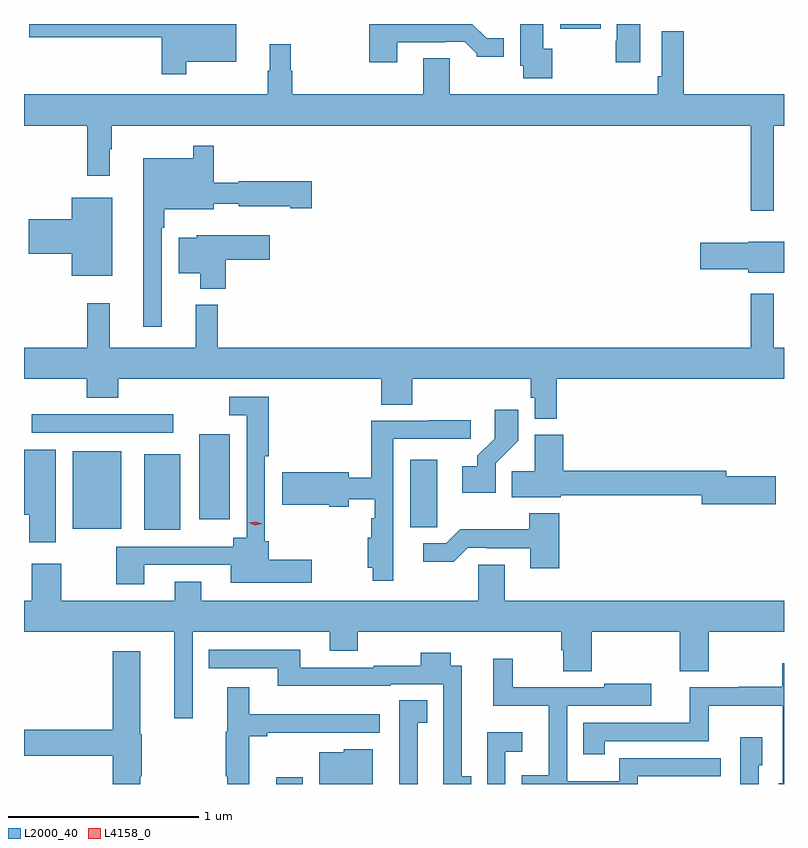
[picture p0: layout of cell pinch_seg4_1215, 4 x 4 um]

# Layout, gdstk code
import gdstk
lib = gdstk.Library(unit=1e-6, precision=1e-09)
def R(c, l, rs):  # rectangles x0, y0, x1, y1
    for r in rs: c.add(gdstk.rectangle(r[:2], r[2:], *l))
def P(c, l, *ps):  # polygons
    for p in ps: c.add(gdstk.Polygon(p, *l))
L2000_40 = (2000, 40)
L4158_0 = (4158, 0)

pinch_seg4_1215 = lib.new_cell('pinch_seg4_1215')
R(pinch_seg4_1215, L2000_40, [(322.721,817.331,322.861,817.366), (322.028,818.669,322.216,819.067), (321.65,818.675,321.907,819.082), (322.316,818.724,322.477,819.172), (321.435,819.18,322.18,819.276), (324.216,821.307,324.43,821.331)])
P(pinch_seg4_1215, L2000_40, [(324.637,821.331),(324.515,821.331),(324.515,821.242),(324.508,821.242),(324.508,821.13),(324.637,821.13)],
  [(324.174,821.202),(324.127,821.202),(324.127,821.331),(324.005,821.331),(324.005,821.112),(324.022,821.112),(324.022,821.046),(324.174,821.046)],
  [(323.359,821.235),(323.615,821.235),(323.615,821.238),(323.714,821.238),(323.778,821.174),(323.778,821.159),(323.92,821.159),(323.92,821.256),(323.829,821.256),(323.754,821.331),(323.212,821.331),(323.212,821.13),(323.359,821.13)],
  [(322.249,821.132),(322.51,821.132),(322.51,821.331),(321.421,821.331),(321.421,821.262),(322.12,821.262),(322.12,821.067),(322.249,821.067)],
  [(325.339,820.796),(325.394,820.796),(325.394,820.96),(324.866,820.96),(324.866,821.293),(324.75,821.293),(324.75,821.056),(324.73,821.056),(324.73,820.96),(323.635,820.96),(323.635,821.15),(323.495,821.15),(323.495,820.96),(322.805,820.96),(322.805,821.084),(322.798,821.084),(322.798,821.224),(322.688,821.224),(322.688,821.084),(322.677,821.084),(322.677,820.96),(321.394,820.96),(321.394,820.796),(321.727,820.796),(321.727,820.533),(321.844,820.533),(321.844,820.673),(321.856,820.673),(321.856,820.796),(325.218,820.796),(325.218,820.347),(325.339,820.347)],
  [(322.119,820.259),(322.132,820.259),(322.132,820.355),(322.393,820.355),(322.393,820.385),(322.524,820.385),(322.524,820.373),(322.796,820.373),(322.796,820.361),(322.909,820.361),(322.909,820.503),(322.524,820.503),(322.524,820.495),(322.393,820.495),(322.393,820.69),(322.284,820.69),(322.284,820.624),(322.022,820.624),(322.022,819.738),(322.119,819.738)],
  [(321.859,820.417),(321.644,820.417),(321.644,820.304),(321.42,820.304),(321.42,820.121),(321.644,820.121),(321.644,820.007),(321.859,820.007)],
  [(322.457,820.09),(322.687,820.09),(322.687,820.219),(322.302,820.219),(322.302,820.207),(322.208,820.207),(322.208,820.019),(322.322,820.019),(322.322,819.938),(322.457,819.938)],
  [(325.394,820.186),(325.206,820.186),(325.206,820.181),(324.954,820.181),(324.954,820.039),(325.206,820.039),(325.206,820.022),(325.394,820.022)],
  [(324.197,819.464),(325.394,819.464),(325.394,819.628),(325.339,819.628),(325.339,819.91),(325.218,819.91),(325.218,819.628),(322.415,819.628),(322.415,819.853),(322.298,819.853),(322.298,819.628),(321.845,819.628),(321.845,819.862),(321.727,819.862),(321.727,819.628),(321.394,819.628),(321.394,819.464),(321.725,819.464),(321.725,819.365),(321.89,819.365),(321.89,819.464),(323.273,819.464),(323.273,819.328),(323.438,819.328),(323.438,819.464),(324.061,819.464),(324.061,819.363),(324.081,819.363),(324.081,819.254),(324.197,819.254)],
  [(322.027,818.484),(322.481,818.484),(322.481,818.39),(322.909,818.39),(322.909,818.512),(322.682,818.512),(322.682,818.608),(322.662,818.608),(322.662,819.055),(322.682,819.055),(322.682,819.369),(322.473,819.369),(322.473,819.273),(322.566,819.273),(322.566,818.626),(322.496,818.626),(322.496,818.58),(321.88,818.58),(321.88,818.382),(322.027,818.382)],
  [(323.877,819.019),(323.996,819.138),(323.996,819.301),(323.871,819.301),(323.871,819.149),(323.78,819.059),(323.78,819.004),(323.7,819.004),(323.7,818.864),(323.877,818.864)],
  [(323.338,818.622),(323.337,818.622),(323.337,819.147),(323.746,819.147),(323.746,819.246),(323.521,819.246),(323.521,819.243),(323.221,819.243),(323.221,818.944),(323.104,818.944),(323.104,818.972),(322.752,818.972),(322.752,818.801),(323,818.801),(323,818.789),(323.104,818.789),(323.104,818.831),(323.24,818.831),(323.24,818.729),(323.221,818.729),(323.221,818.626),(323.204,818.626),(323.204,818.468),(323.229,818.468),(323.229,818.4),(323.338,818.4)],
  [(325.351,818.951),(325.09,818.951),(325.09,818.98),(324.233,818.98),(324.233,819.169),(324.083,819.169),(324.083,818.978),(323.962,818.978),(323.962,818.84),(324.22,818.84),(324.22,818.851),(324.962,818.851),(324.962,818.804),(325.351,818.804)],
  [(321.562,819.091),(321.394,819.091),(321.394,818.747),(321.421,818.747),(321.421,818.604),(321.562,818.604)],
  [(323.568,818.794),(323.569,818.794),(323.569,819.037),(323.426,819.037),(323.426,818.683),(323.568,818.683)],
  [(324.212,818.755),(324.052,818.755),(324.052,818.671),(323.689,818.671),(323.616,818.598),(323.496,818.598),(323.496,818.501),(323.657,818.501),(323.73,818.574),(323.83,818.574),(323.83,818.571),(324.059,818.571),(324.059,818.466),(324.212,818.466)],
  [(322.281,818.132),(323.003,818.132),(323.003,818.033),(323.151,818.033),(323.151,818.132),(324.221,818.132),(324.221,818.034),(324.233,818.034),(324.233,817.924),(324.381,817.924),(324.381,818.132),(324.844,818.132),(324.844,817.924),(324.999,817.924),(324.999,818.132),(325.394,818.132),(325.394,818.296),(323.923,818.296),(323.923,818.486),(323.784,818.486),(323.784,818.296),(322.327,818.296),(322.327,818.395),(322.187,818.395),(322.187,818.296),(321.591,818.296),(321.591,818.491),(321.436,818.491),(321.436,818.296),(321.394,818.296),(321.394,818.132),(322.184,818.132),(322.184,817.677),(322.281,817.677)],
  [(323.747,817.371),(323.698,817.371),(323.698,817.953),(323.641,817.953),(323.641,818.023),(323.482,818.023),(323.482,817.954),(323.235,817.954),(323.235,817.944),(322.849,817.944),(322.849,818.037),(322.366,818.037),(322.366,817.941),(322.73,817.941),(322.73,817.847),(323.325,817.847),(323.325,817.857),(323.601,817.857),(323.601,817.574),(323.6,817.574),(323.6,817.331),(323.747,817.331)],
  [(322.006,817.372),(322.014,817.372),(322.014,817.593),(322.006,817.593),(322.006,818.029),(321.86,818.029),(321.86,817.616),(321.394,817.616),(321.394,817.48),(321.86,817.48),(321.86,817.331),(322.006,817.331)],
  [(324.624,817.371),(325.06,817.371),(325.06,817.467),(324.631,817.467),(324.631,817.466),(324.528,817.466),(324.528,817.345),(324.252,817.345),(324.252,817.743),(324.694,817.743),(324.694,817.858),(324.449,817.858),(324.449,817.839),(323.966,817.839),(323.966,817.99),(323.864,817.99),(323.864,817.742),(324.155,817.742),(324.155,817.378),(324.013,817.378),(324.013,817.331),(324.624,817.331)],
  [(325.394,817.966),(325.386,817.966),(325.386,817.844),(325.152,817.844),(325.152,817.839),(324.899,817.839),(324.899,817.653),(324.337,817.653),(324.337,817.488),(324.45,817.488),(324.45,817.557),(324.997,817.557),(324.997,817.742),(325.388,817.742),(325.388,817.335),(325.367,817.335),(325.367,817.331),(325.394,817.331)],
  [(322.579,817.582),(322.675,817.582),(322.675,817.6),(322.853,817.6),(322.853,817.602),(323.266,817.602),(323.266,817.699),(322.579,817.699),(322.579,817.84),(322.463,817.84),(322.463,817.605),(322.456,817.605),(322.456,817.372),(322.463,817.372),(322.463,817.331),(322.579,817.331)],
  [(323.467,817.654),(323.516,817.654),(323.516,817.772),(323.37,817.772),(323.37,817.509),(323.369,817.509),(323.369,817.331),(323.467,817.331)],
  [(323.928,817.502),(324.016,817.502),(324.016,817.603),(323.832,817.603),(323.832,817.331),(323.928,817.331)],
  [(325.26,817.431),(325.279,817.431),(325.279,817.576),(325.164,817.576),(325.164,817.331),(325.26,817.331)],
  [(323.23,817.513),(323.076,817.513),(323.076,817.498),(322.949,817.498),(322.949,817.331),(323.23,817.331)])
P(pinch_seg4_1215, L4158_0, [(322.612,818.693),(322.577,818.705),(322.576,818.705),(322.577,818.705),(322.613,818.712),(322.648,818.7),(322.648,818.7),(322.648,818.7)])

lib.write_gds('pinch_seg4_1215.gds')
